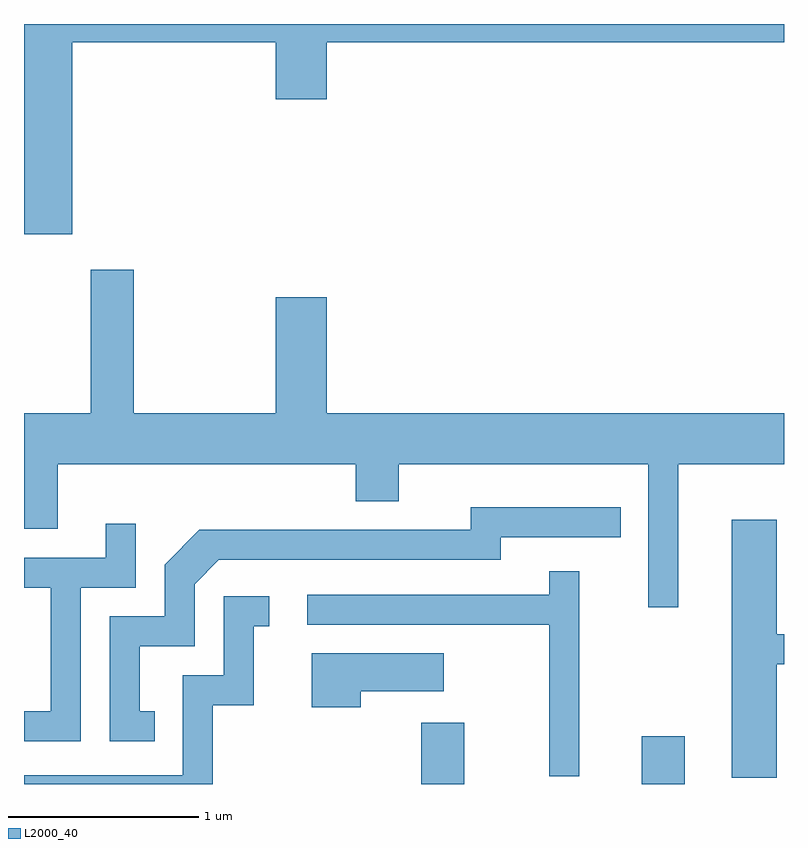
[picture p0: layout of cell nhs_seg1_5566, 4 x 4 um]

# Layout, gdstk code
import gdstk
lib = gdstk.Library(unit=1e-6, precision=1e-09)
def R(c, l, rs):  # rectangles x0, y0, x1, y1
    for r in rs: c.add(gdstk.rectangle(r[:2], r[2:], *l))
def P(c, l, *ps):  # polygons
    for p in ps: c.add(gdstk.Polygon(p, *l))
L2000_40 = (2000, 40)

nhs_seg1_5566 = lib.new_cell('nhs_seg1_5566')
R(nhs_seg1_5566, L2000_40, [(355.701,855.712,355.929,856.034), (356.861,855.712,357.089,855.964)])
P(nhs_seg1_5566, L2000_40, [(353.864,859.616),(354.936,859.616),(354.936,859.316),(355.204,859.316),(355.204,859.616),(357.611,859.616),(357.611,859.712),(353.611,859.712),(353.611,858.606),(353.864,858.606)],
  [(357.054,857.396),(357.611,857.396),(357.611,857.664),(355.204,857.664),(355.204,858.274),(354.936,858.274),(354.936,857.664),(354.189,857.664),(354.189,858.419),(353.961,858.419),(353.961,857.664),(353.611,857.664),(353.611,857.056),(353.789,857.056),(353.789,857.396),(355.356,857.396),(355.356,857.201),(355.584,857.201),(355.584,857.396),(356.896,857.396),(356.896,856.643),(357.054,856.643)],
  [(354.298,856.094),(354.219,856.094),(354.219,856.436),(354.509,856.436),(354.509,856.764),(354.637,856.891),(356.119,856.891),(356.119,857.011),(356.753,857.011),(356.753,857.169),(355.961,857.169),(355.961,857.049),(354.534,857.049),(354.351,856.867),(354.351,856.594),(354.061,856.594),(354.061,855.936),(354.298,855.936)],
  [(357.574,856.341),(357.611,856.341),(357.611,856.499),(357.574,856.499),(357.574,857.104),(357.336,857.104),(357.336,855.746),(357.574,855.746)],
  [(353.909,856.746),(354.199,856.746),(354.199,857.083),(354.041,857.083),(354.041,856.904),(353.611,856.904),(353.611,856.746),(353.751,856.746),(353.751,856.094),(353.611,856.094),(353.611,855.936),(353.909,855.936)],
  [(356.534,856.833),(356.376,856.833),(356.376,856.709),(355.103,856.709),(355.103,856.551),(356.376,856.551),(356.376,855.753),(356.534,855.753)],
  [(354.604,856.126),(354.819,856.126),(354.819,856.541),(354.903,856.541),(354.903,856.699),(354.661,856.699),(354.661,856.284),(354.446,856.284),(354.446,855.759),(353.611,855.759),(353.611,855.712),(354.604,855.712)],
  [(355.384,856.201),(355.819,856.201),(355.819,856.399),(355.126,856.399),(355.126,856.116),(355.384,856.116)])

lib.write_gds('nhs_seg1_5566.gds')
